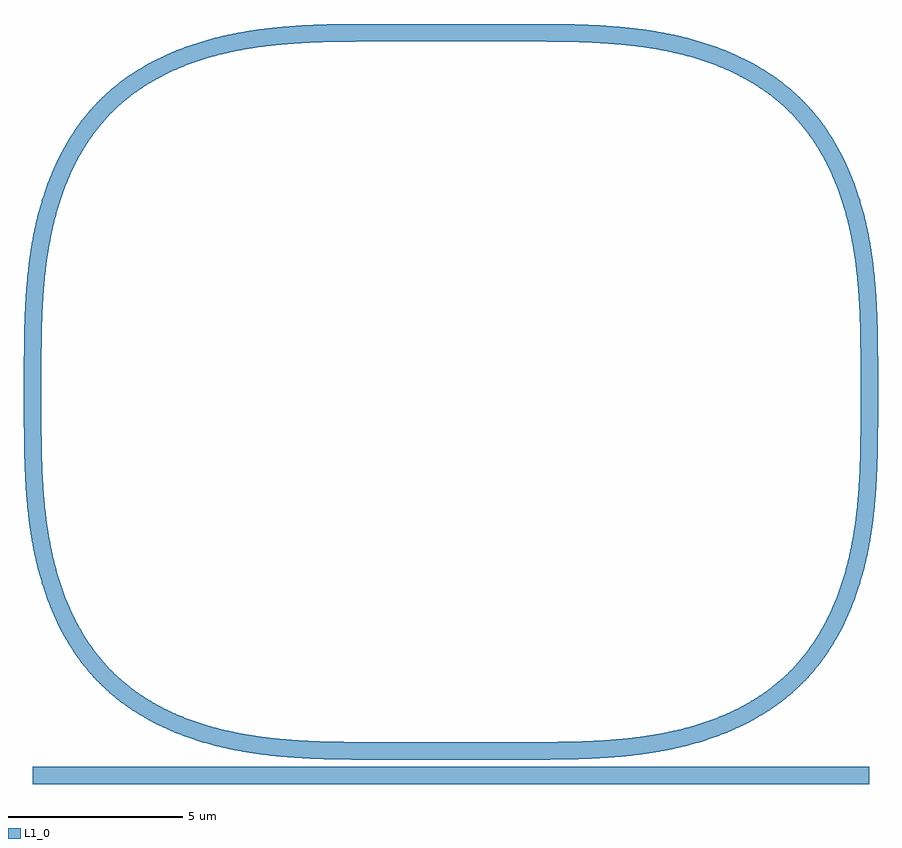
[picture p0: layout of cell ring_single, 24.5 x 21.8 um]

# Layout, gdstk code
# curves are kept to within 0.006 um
from math import pi, radians
import gdstk
lib = gdstk.Library(unit=1e-6, precision=1e-09)
def R(c, l, rs):  # rectangles x0, y0, x1, y1
    for r in rs: c.add(gdstk.rectangle(r[:2], r[2:], *l))
def P(c, l, *ps):  # polygons
    for p in ps: c.add(gdstk.Polygon(p, *l))
L1_0 = (1, 0)

coupler_ring_bendbend_e_ = lib.new_cell('coupler_ring_bendbend_e_560275ce')
R(coupler_ring_bendbend_e_, L1_0, [(-14,-0.25,-4,0.25), (-4,-0.25,0,0.25), (0,-0.25,10,0.25), (-4,0.45,0,0.95)])
P(coupler_ring_bendbend_e_, L1_0, [(-4,0.45),(-5.602,0.465),(-6.361,0.498),(-6.93,0.542),(-7.5,0.607),(-7.973,0.68),(-8.444,0.773),(-8.865,0.875),(-9.42,1.042),(-9.829,1.191),(-10.23,1.363),(-10.664,1.582),(-11.082,1.831),(-11.404,2.053),(-11.749,2.327),(-12.073,2.627),(-12.373,2.951),(-12.647,3.296),(-12.869,3.618),(-13.118,4.036),(-13.337,4.47),(-13.509,4.871),(-13.658,5.28),(-13.825,5.835),(-13.927,6.256),(-14.02,6.727),(-14.093,7.2),(-14.158,7.77),(-14.202,8.339),(-14.235,9.098),(-14.25,10.7),(-13.75,10.7),(-13.745,9.577),(-13.731,8.972),(-13.703,8.37),(-13.651,7.725),(-13.578,7.131),(-13.494,6.633),(-13.365,6.052),(-13.213,5.526),(-13.077,5.14),(-12.921,4.763),(-12.764,4.436),(-12.591,4.119),(-12.374,3.776),(-12.163,3.485),(-11.964,3.243),(-11.751,3.013),(-11.491,2.766),(-11.215,2.537),(-10.924,2.326),(-10.581,2.109),(-10.264,1.936),(-9.937,1.779),(-9.56,1.623),(-9.217,1.501),(-8.825,1.382),(-8.247,1.242),(-7.569,1.122),(-6.975,1.049),(-6.33,0.997),(-5.728,0.969),(-5.123,0.955),(-4,0.95)],
  [(0,0.45),(1.602,0.465),(2.361,0.498),(2.93,0.542),(3.5,0.607),(3.973,0.68),(4.444,0.773),(4.865,0.875),(5.42,1.042),(5.829,1.191),(6.23,1.363),(6.664,1.582),(7.082,1.831),(7.404,2.053),(7.749,2.327),(8.073,2.627),(8.373,2.951),(8.647,3.296),(8.869,3.618),(9.118,4.036),(9.337,4.47),(9.509,4.871),(9.658,5.28),(9.825,5.835),(9.927,6.256),(10.02,6.727),(10.093,7.2),(10.158,7.77),(10.202,8.339),(10.235,9.098),(10.25,10.7),(9.75,10.7),(9.745,9.577),(9.731,8.972),(9.703,8.37),(9.651,7.725),(9.578,7.131),(9.494,6.633),(9.365,6.052),(9.213,5.526),(9.077,5.14),(8.921,4.763),(8.764,4.436),(8.591,4.119),(8.374,3.776),(8.163,3.485),(7.964,3.243),(7.751,3.013),(7.491,2.766),(7.215,2.537),(6.924,2.326),(6.581,2.109),(6.264,1.936),(5.937,1.779),(5.56,1.623),(5.217,1.501),(4.825,1.382),(4.247,1.242),(3.569,1.122),(2.975,1.049),(2.33,0.997),(1.728,0.969),(1.123,0.955),(0,0.95)])

straight_cross_sectionc_ = lib.new_cell('straight_cross_sectionc_14dffc3c')
R(straight_cross_sectionc_, L1_0, [(0,-0.25,0.6,0.25)])

bend_euler_cross_sectio_ = lib.new_cell('bend_euler_cross_sectio_2b3226cd')
P(bend_euler_cross_sectio_, L1_0, [(0,-0.25),(1.602,-0.235),(2.361,-0.202),(2.93,-0.158),(3.5,-0.093),(3.973,-0.02),(4.444,0.073),(4.865,0.175),(5.42,0.342),(5.829,0.491),(6.23,0.663),(6.664,0.882),(7.082,1.131),(7.404,1.353),(7.749,1.627),(8.073,1.927),(8.373,2.251),(8.647,2.596),(8.869,2.918),(9.118,3.336),(9.337,3.77),(9.509,4.171),(9.658,4.58),(9.825,5.135),(9.927,5.556),(10.02,6.027),(10.093,6.5),(10.158,7.07),(10.202,7.639),(10.235,8.398),(10.25,10),(9.75,10),(9.745,8.877),(9.731,8.272),(9.703,7.67),(9.651,7.025),(9.578,6.431),(9.494,5.933),(9.365,5.352),(9.213,4.826),(9.077,4.44),(8.921,4.063),(8.764,3.736),(8.591,3.419),(8.374,3.076),(8.163,2.785),(7.964,2.543),(7.751,2.313),(7.491,2.066),(7.215,1.837),(6.924,1.626),(6.581,1.409),(6.264,1.236),(5.937,1.079),(5.56,0.923),(5.217,0.801),(4.825,0.682),(4.247,0.542),(3.569,0.422),(2.975,0.349),(2.33,0.297),(1.728,0.269),(1.123,0.255),(0,0.25)])

c_straight_cross_sectionc_ = lib.new_cell('straight_cross_sectionc_2d7fbccb')
R(c_straight_cross_sectionc_, L1_0, [(0,-0.25,4,0.25)])

ring_single = lib.new_cell('ring_single')
ring_single.add(gdstk.Reference(coupler_ring_bendbend_e_, (0,0)))
ring_single.add(gdstk.Reference(straight_cross_sectionc_, (-14,10.7), rotation=pi/2))
ring_single.add(gdstk.Reference(straight_cross_sectionc_, (10,11.3), rotation=3*pi/2))
ring_single.add(gdstk.Reference(bend_euler_cross_sectio_, (-4,21.3), rotation=pi))
ring_single.add(gdstk.Reference(bend_euler_cross_sectio_, (10,11.3), rotation=pi/2))
ring_single.add(gdstk.Reference(c_straight_cross_sectionc_, (0,21.3), rotation=pi))

lib.write_gds('ring_single.gds')
